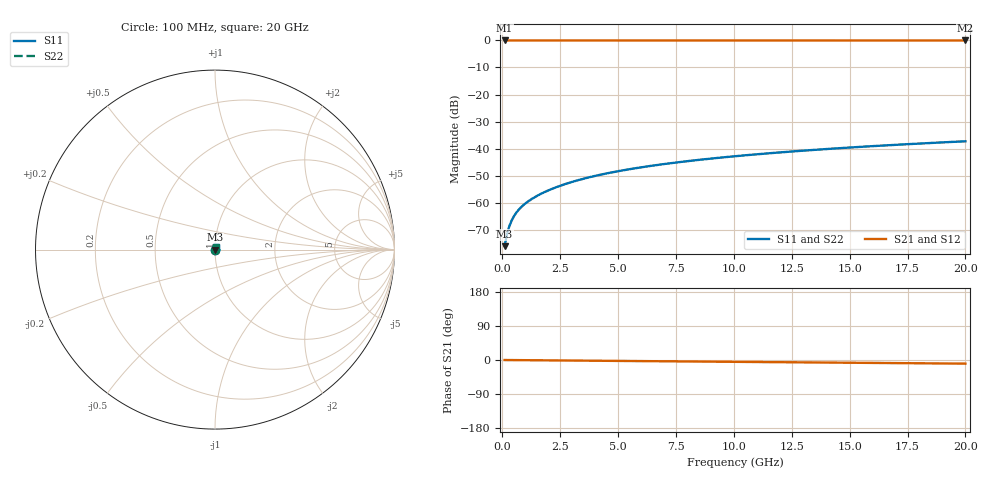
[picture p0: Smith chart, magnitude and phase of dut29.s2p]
! Touchstone file exported from HFSS 2026.1.0
!  File:  C:/ffzhzh/LocalFiles/Ansys_Project_Files/temp_train_TSV_29_1782958320_45568.aedt
!  Generated:  10:13:27 AM Jul  2, 2026
!  Design:  TSV
!  Project:  temp_train_TSV_29_1782958320_45568
! Variables:
!  h_bsmrdl = 2um
!  h_ox = 20um
!  h_rdl = 5um
!  h_sub = 95.68um
!  h_tmrdl = 5um
!  h_tsv = 95.68um
!  h_via = 3um
!  l_bsmrdl = 300um
!  l_sub = 424.54um
!  l_tmrdl = 200um
!  m_sub = 200um
!  pitch = 54.02um
!  r_tsv = 12.27um
!  s_tmrdl = 10um
!  w_bsmrdl = 18um
!  w_sub = 500um
!  w_tmrdl = 12um
!  x_tsv_center1 = 206um
!  x_tsv_center2 = 524um
!  x_tsv_center3 = 736um
!  x_tsv_center4 = 1054um
!  x_tsv_center5 = 1266um
!  x_tsv_center6 = 1584um
# GHz S MA R 50.000000
! Terminal data exported
! Port[1] = TSV1_1_T1
! Port[2] = TSV1_1_T2
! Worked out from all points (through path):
!   200 points, 100 MHz to 20 GHz, reference 50 ohm
!   highest |S21| = 0.00 dB at 100 MHz (marker M1); lowest = 0.0 dB at 20 GHz (marker M2)
!   group delay of S21, straight-line fit = 1.33 ps
!   lowest |S11| = -76.1 dB at 100 MHz (marker M3), VSWR 1.00, Z = 50 + j0.0116 ohm
!   |S11| at or under -10 dB: start of sweep to end of sweep
!   |S22| runs from -76.1 to -37.3 dB; largest |S21 - S12| = 2.8e-15
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0.1  0.0001566 47.5  0.9999 -0.1  0.9999 -0.1  0.0001566 47.5
! Gamma 0 0 0 0
! Port Impedance 50 0 50 0
0.2  0.0002572 62.1  0.9999 -0.1  0.9999 -0.1  0.0002572 62.1
0.3  0.000362 67.0  0.9999 -0.2  0.9999 -0.2  0.000362 67.0
0.4  0.000463 68.8  0.9998 -0.2  0.9998 -0.2  0.000463 68.8
0.5  0.0005582 69.7  0.9998 -0.3  0.9998 -0.3  0.0005582 69.7
0.6  0.0006478 70.1  0.9998 -0.3  0.9998 -0.3  0.0006477 70.1
0.7  0.0007325 70.4  0.9998 -0.3  0.9998 -0.3  0.0007325 70.4
0.9  0.0008915 71.1  0.9997 -0.4  0.9997 -0.4  0.0008915 71.1
1.1  0.001042 71.8  0.9997 -0.5  0.9997 -0.5  0.001042 71.8
1.3  0.001188 72.6  0.9997 -0.6  0.9997 -0.6  0.001188 72.6
1.6  0.001404 73.7  0.9996 -0.8  0.9996 -0.8  0.001404 73.7
1.9  0.00162 74.6  0.9996 -0.9  0.9996 -0.9  0.00162 74.6
2.6  0.002122 76.2  0.9995 -1.3  0.9995 -1.3  0.002122 76.2
3.5  0.002764 77.4  0.9995 -1.7  0.9995 -1.7  0.002764 77.3
4.2  0.003258 77.8  0.9994 -2.0  0.9994 -2.0  0.003258 77.8
5  0.003815 78.1  0.9994 -2.4  0.9994 -2.4  0.003815 78.1
6.8  0.005047 78.3  0.9992 -3.3  0.9992 -3.3  0.005047 78.3
8.3  0.006056 78.2  0.9992 -4.0  0.9992 -4.0  0.006056 78.2
10.1  0.007253 78.0  0.9991 -4.9  0.9991 -4.9  0.007253 78.0
13.4  0.009421 77.3  0.9989 -6.4  0.9989 -6.4  0.009421 77.3
16.7  0.01155 76.3  0.9988 -8.0  0.9988 -8.0  0.01155 76.3
20  0.01364 75.1  0.9986 -9.6  0.9986 -9.6  0.01364 75.1
